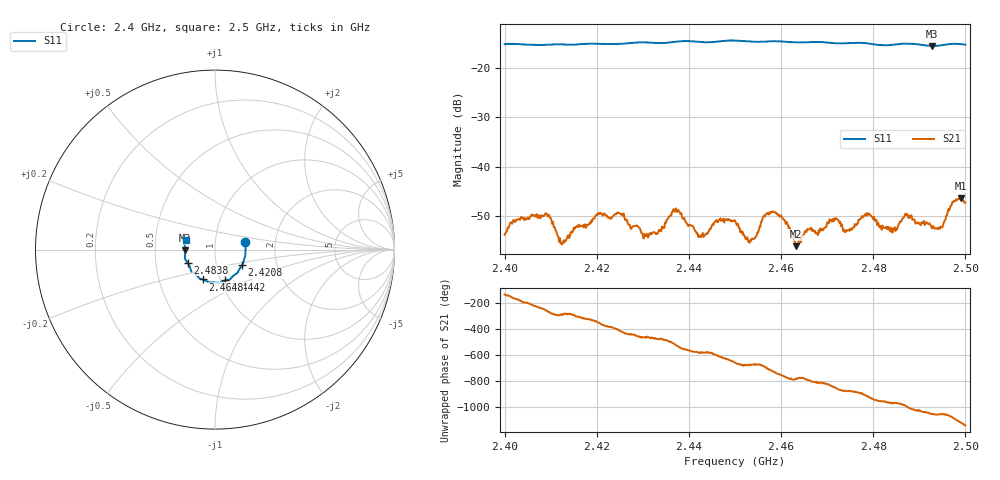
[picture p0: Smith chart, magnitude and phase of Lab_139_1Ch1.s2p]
# Hz S RI R 50
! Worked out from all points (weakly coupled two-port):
!   601 points, 2.4 GHz to 2.5 GHz, reference 50 ohm
!   highest |S21| = -46.42 dB at 2.499 GHz (marker M1); lowest = -56.1 dB at 2.4632 GHz (marker M2)
!   lowest |S11| = -15.6 dB at 2.4928 GHz (marker M3), VSWR 1.40, Z = 35.8 - j0.356 ohm
!   |S11| at or under -10 dB: start of sweep to end of sweep
!   S12 and S22 are empty: the file has one direction only
!   S11 on the Smith chart (normalised r, x): 2.4 GHz: 1.40, +0.12; 2.4208 GHz: 1.33, -0.24; 2.4442 GHz: 1.05, -0.37; 2.4648 GHz: 0.83, -0.28; 2.4838 GHz: 0.73, -0.11; 2.5 GHz: 0.72, +0.08
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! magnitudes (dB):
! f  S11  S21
! 2.4 GHz  -15.3  -53.8
! 2.4062 GHz  -15.4  -49.7
! 2.4095 GHz  -15.4  -50.0
! 2.4127 GHz  -15.3  -55.3
! 2.4167 GHz  -15.2  -52.0
! 2.4208 GHz  -15.2  -49.5
! 2.4333 GHz  -15.0  -53.3
! 2.4372 GHz  -14.7  -48.4
! 2.4442 GHz  -14.9  -53.3
! 2.45 GHz  -14.5  -50.9
! 2.4533 GHz  -14.7  -54.8
! 2.4585 GHz  -14.7  -49.2
! 2.4632 GHz  -14.9  -56.1
! 2.4648 GHz  -14.9  -53.7
! 2.4667 GHz  -14.8  -53.0
! 2.4788 GHz  -15.1  -49.8
! 2.4833 GHz  -15.5  -52.7
! 2.4838 GHz  -15.4  -52.8
! 2.4873 GHz  -15.1  -49.6
! 2.4928 GHz  -15.6  -52.5
! 2.499 GHz  -15.3  -46.4
! 2.5 GHz  -15.3  -47.3
